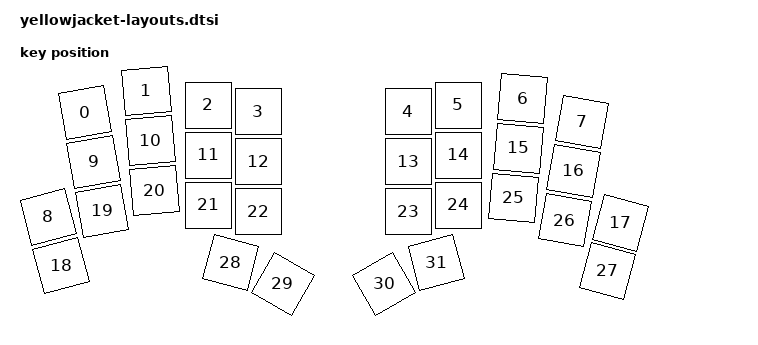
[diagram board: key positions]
#include <physical_layouts.dtsi>

  / {
    yellowjacket_layout: yellowjacket_layout {
        compatible = "zmk,physical-layout";
        display-name = "Default Layout";

        keys  //                     w   h    x    y     rot    rx    ry
        = <&key_physical_attrs 100 100  135  190 (-1000)   100   130>
        , <&key_physical_attrs 100 100  270  150  (-500)   100   130>
        , <&key_physical_attrs 100 100  400  159       0     0     0>
        , <&key_physical_attrs 100 100  500  172       0     0     0>
        , <&key_physical_attrs 100 100  800  172       0     0     0>
        , <&key_physical_attrs 100 100  900  159       0     0     0>
        , <&key_physical_attrs 100 100 1030   60     500   100   130>
        , <&key_physical_attrs 100 100 1150    0    1000   100   130>
        , <&key_physical_attrs 100 100    0  380 (-1500)   100   130>
        , <&key_physical_attrs 100 100  135  290 (-1000)   100   130>
        , <&key_physical_attrs 100 100  270  250  (-500)   100   130>
        , <&key_physical_attrs 100 100  400  259       0     0     0>
        , <&key_physical_attrs 100 100  500  272       0     0     0>
        , <&key_physical_attrs 100 100  800  272       0     0     0>
        , <&key_physical_attrs 100 100  900  259       0     0     0>
        , <&key_physical_attrs 100 100 1030  160     500   100   130>
        , <&key_physical_attrs 100 100 1150  100    1000   100   130>
        , <&key_physical_attrs 100 100 1265   80    1500   100   130>
        , <&key_physical_attrs 100 100    0  480 (-1500)   100   130>
        , <&key_physical_attrs 100 100  135  390 (-1000)   100   130>
        , <&key_physical_attrs 100 100  270  350  (-500)   100   130>
        , <&key_physical_attrs 100 100  400  359       0     0     0>
        , <&key_physical_attrs 100 100  500  372       0     0     0>
        , <&key_physical_attrs 100 100  800  372       0     0     0>
        , <&key_physical_attrs 100 100  900  359       0     0     0>
        , <&key_physical_attrs 100 100 1030  260     500   100   130>
        , <&key_physical_attrs 100 100 1150  200    1000   100   130>
        , <&key_physical_attrs 100 100 1265  180    1500   100   130>
        , <&key_physical_attrs 100 100  430  485    1500   530   585>
        , <&key_physical_attrs 100 100  530  485    3000   530   585>
        , <&key_physical_attrs 100 100  770  485 (-3000)   870   585>
        , <&key_physical_attrs 100 100  870  485 (-1500)   870   585>
        ;
    };

    splitkb_yellowjacket_position_map {
        compatible = "zmk,physical-layout-position-map";
        complete;
        default {
            physical-layout = <&yellowjacket_layout>;
            positions =
                <     0  1  2  3          4  5  6  7   >,
                <  8  9 10 11 12         13 14 15 16 17>,
                < 18 19 20 21 22         23 24 25 26 27>,
                <             28 29   30 31            >;
        };
    };
};
